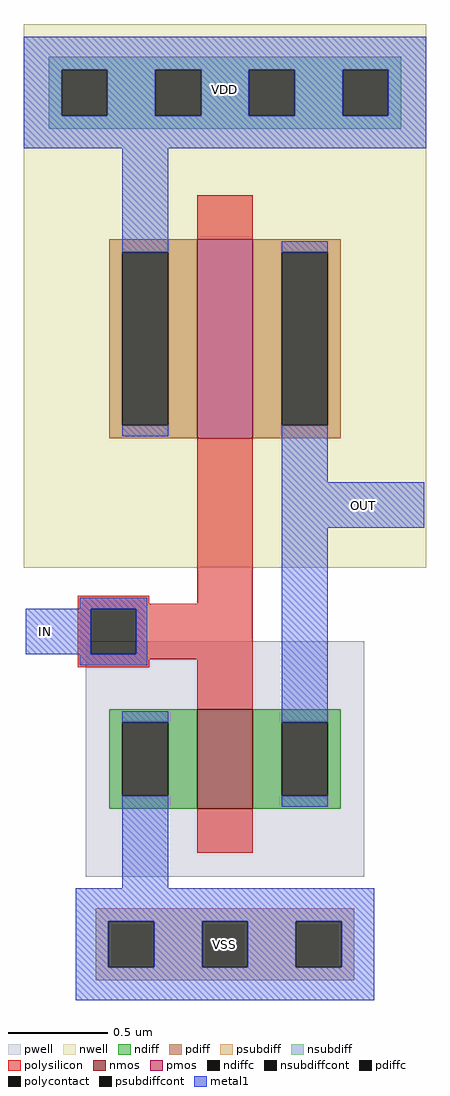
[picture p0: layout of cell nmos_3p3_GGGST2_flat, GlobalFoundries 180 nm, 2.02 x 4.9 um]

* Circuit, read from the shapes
.subckt nmos_3p3_GGGST2_flat IN OUT VSS VDD
XM1 OUT IN VSS VSS nfet_03v3 w=0.5u l=0.28u
XM2 OUT IN VDD VDD pfet_03v3 w=1u l=0.28u
.ends

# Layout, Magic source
magic
tech gf180mcuC
magscale 1 10
<< nwell >>
rect -62 310 342 856
<< pwell >>
rect 0 0 280 236
<< nmos >>
rect 112 68 168 168
<< pmos >>
rect 112 440 168 640
<< ndiff >>
rect 24 155 112 168
rect 24 81 37 155
rect 83 81 112 155
rect 24 68 112 81
rect 168 155 256 168
rect 168 81 197 155
rect 243 81 256 155
rect 168 68 256 81
<< pdiff >>
rect 24 627 112 640
rect 24 453 37 627
rect 83 453 112 627
rect 24 440 112 453
rect 168 627 256 640
rect 168 453 197 627
rect 243 453 256 627
rect 168 440 256 453
<< ndiffc >>
rect 37 81 83 155
rect 197 81 243 155
<< pdiffc >>
rect 37 453 83 627
rect 197 453 243 627
<< psubdiff >>
rect 10 -45 270 -32
rect 10 -91 23 -45
rect 69 -91 117 -45
rect 163 -91 211 -45
rect 257 -91 270 -45
rect 10 -104 270 -91
<< nsubdiff >>
rect -37 810 317 823
rect -37 764 -24 810
rect 22 764 70 810
rect 116 764 164 810
rect 210 764 258 810
rect 304 764 317 810
rect -37 751 317 764
<< psubdiffcont >>
rect 23 -91 69 -45
rect 117 -91 163 -45
rect 211 -91 257 -45
<< nsubdiffcont >>
rect -24 764 22 810
rect 70 764 116 810
rect 164 764 210 810
rect 258 764 304 810
<< polysilicon >>
rect 112 640 168 684
rect -8 274 64 282
rect 112 274 168 440
rect -8 269 168 274
rect -8 223 5 269
rect 51 223 168 269
rect -8 218 168 223
rect -8 210 64 218
rect 112 168 168 218
rect 112 24 168 68
<< polycontact >>
rect 5 223 51 269
<< metal1 >>
rect -62 810 342 843
rect -62 764 -24 810
rect 22 764 70 810
rect 116 764 164 810
rect 210 764 258 810
rect 304 764 342 810
rect -62 731 342 764
rect 37 627 83 731
rect 37 442 83 453
rect 197 627 243 638
rect 197 396 243 453
rect 197 350 340 396
rect -6 269 62 280
rect -60 223 5 269
rect 51 223 62 269
rect -6 212 62 223
rect 37 155 83 166
rect 37 -12 83 81
rect 197 155 243 350
rect 197 70 243 81
rect -10 -45 290 -12
rect -10 -91 23 -45
rect 69 -91 117 -45
rect 163 -91 211 -45
rect 257 -91 290 -45
rect -10 -124 290 -91
<< labels >>
flabel psubdiffcont 140 -68 140 -68 0 FreeSans 320 0 0 0 VSS
port 7 nsew
flabel metal1 140 790 140 790 0 FreeSans 320 0 0 0 VDD
port 9 nsew
flabel metal1 -40 246 -40 246 0 FreeSans 320 0 0 0 IN
port 4 nsew
flabel metal1 279 373 279 373 0 FreeSans 320 0 0 0 OUT
port 6 nsew
<< end >>
